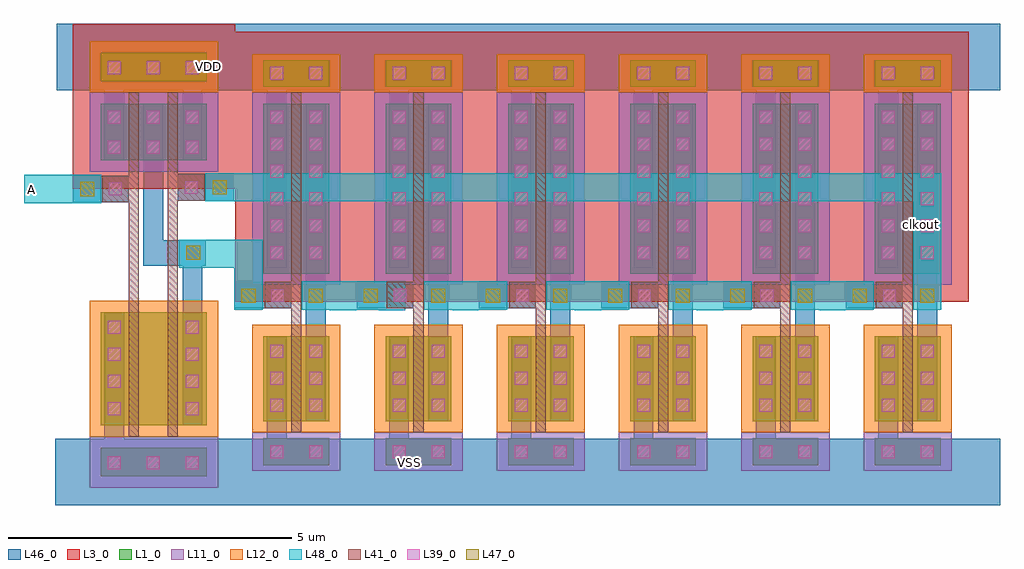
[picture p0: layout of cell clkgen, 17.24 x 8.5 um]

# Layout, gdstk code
import gdstk
lib = gdstk.Library(unit=1e-6, precision=1e-09)
def R(c, l, rs):  # rectangles x0, y0, x1, y1
    for r in rs: c.add(gdstk.rectangle(r[:2], r[2:], *l))
def A(c, l, x, y, w, h, nx, ny, dx, dy):  # array of equal rectangles
    R(c, l, [(x+i*dx, y+j*dy, x+i*dx+w, y+j*dy+h) for i in range(nx) for j in range(ny)])
L1_0 = (1, 0)
L3_0 = (3, 0)
L11_0 = (11, 0)
L12_0 = (12, 0)
L39_0 = (39, 0)
L41_0 = (41, 0)
L46_0 = (46, 0)
L47_0 = (47, 0)
L48_0 = (48, 0)

nand2 = lib.new_cell('NAND2')
R(nand2, L1_0, [(12.26,-24.335,14.13,-23.835), (12.26,-23.435,14.13,-21.435), (12.26,-18.755,14.13,-17.755), (12.26,-17.355,14.13,-16.855)])
R(nand2, L3_0, [(11.76,-19.255,14.63,-16.355)])
R(nand2, L11_0, [(12.06,-24.535,14.33,-23.635), (12.06,-18.955,14.33,-17.555)])
R(nand2, L12_0, [(12.06,-23.635,14.33,-21.235), (12.06,-17.555,14.33,-16.655)])
A(nand2, L39_0, 12.38, -24.215, 0.23, 0.23, 3, 2, 0.69, 5.58)
A(nand2, L39_0, 12.38, -23.255, 0.23, 0.23, 1, 4, 0, 0.48)
A(nand2, L39_0, 13.76, -23.255, 0.23, 0.23, 1, 4, 0, 0.48)
A(nand2, L39_0, 12.38, -18.105, 0.23, 0.23, 3, 2, 0.69, 0.87)
R(nand2, L39_0, [(12.4,-19.375,12.63,-19.145), (13.74,-19.345,13.97,-19.115)])
R(nand2, L41_0, [(12.75,-23.635,12.93,-17.555), (13.44,-23.635,13.62,-17.555), (12.28,-19.495,12.75,-19.025), (13.62,-19.465,14.09,-18.995)])
R(nand2, L46_0, [(12.06,-24.845,14.33,-23.675), (12.32,-23.675,12.67,-21.435), (13.7,-23.435,14.05,-20.615), (13.01,-20.615,14.115,-20.165), (13.01,-20.165,13.36,-17.755), (11.765,-19.495,12.75,-19.025), (13.62,-19.465,14.605,-18.995), (12.32,-18.755,12.67,-17.515), (13.7,-18.755,14.05,-17.515), (12.06,-17.515,14.33,-16.345)])
R(nand2, L47_0, [(13.765,-20.515,14.015,-20.265), (11.89,-19.385,12.14,-19.135), (14.23,-19.355,14.48,-19.105)])
R(nand2, L48_0, [(13.64,-20.655,14.14,-20.155), (11.765,-19.51,12.265,-19.01), (14.105,-19.48,14.605,-18.98)])
nand2.add(gdstk.Label('VDD', (13.1,-17.1), layer=101, texttype=0))
nand2.add(gdstk.Label('VSS', (13.195,-24.085), layer=101, texttype=0))
nand2.add(gdstk.Label('A', (12.035,-19.055), layer=102, texttype=0))
nand2.add(gdstk.Label('B', (14.355,-19.09), layer=102, texttype=0))
nand2.add(gdstk.Label('Vout', (14.06,-20.445), layer=102, texttype=0))

inv = lib.new_cell('INV')
R(inv, L1_0, [(3.77,-10.77,4.93,-10.29), (3.77,-9.99,4.93,-8.49), (3.77,-7.385,4.93,-4.385), (3.77,-4.085,4.93,-3.615)])
R(inv, L3_0, [(3.27,-7.885,5.43,-3.115)])
R(inv, L11_0, [(3.57,-10.87,5.13,-10.19), (3.57,-7.585,5.13,-4.185)])
R(inv, L12_0, [(3.57,-10.19,5.13,-8.29), (3.57,-4.185,5.13,-3.515)])
A(inv, L39_0, 3.89, -9.83, 0.23, 0.23, 1, 3, 0, 0.48)
A(inv, L39_0, 4.58, -9.83, 0.23, 0.23, 1, 3, 0, 0.48)
A(inv, L39_0, 3.89, -7.135, 0.23, 0.23, 1, 6, 0, 0.48)
A(inv, L39_0, 4.58, -7.135, 0.23, 0.23, 1, 6, 0, 0.48)
R(inv, L39_0, [(3.89,-10.65,4.12,-10.42), (4.58,-10.65,4.81,-10.42), (3.91,-7.88,4.14,-7.65), (3.89,-3.965,4.12,-3.735), (4.58,-3.965,4.81,-3.735)])
R(inv, L41_0, [(4.26,-10.19,4.44,-4.185), (3.79,-8,4.26,-7.53)])
R(inv, L46_0, [(3.27,-11.475,5.43,-10.305), (3.83,-10.72,4.18,-8.49), (4.52,-9.99,4.87,-4.385), (3.255,-8,4.26,-7.53), (3.83,-7.29,4.18,-4.145), (3.27,-4.145,5.43,-2.975)])
R(inv, L47_0, [(3.38,-7.9,3.63,-7.65), (4.57,-7.9,4.82,-7.65)])
R(inv, L48_0, [(3.255,-8.025,3.755,-7.525), (4.445,-8.025,4.945,-7.525)])
inv.add(gdstk.Label('VDD', (4.35,-3.515), layer=101, texttype=0))
inv.add(gdstk.Label('VSS', (4.35,-10.975), layer=101, texttype=0))
inv.add(gdstk.Label('A', (3.51,-7.73), layer=102, texttype=0))
inv.add(gdstk.Label('out', (4.79,-7.77), layer=102, texttype=0))

clkgen = lib.new_cell('clkgen')
R(clkgen, L46_0, [(10.741,-16.785,27.43,-15.615), (10.771,-9.455,27.43,-8.285)])
R(clkgen, L48_0, [(15.594,-13.34,16.064,-12.83), (16.443,-13.34,16.923,-12.83), (17.754,-13.34,18.224,-12.83), (19.914,-13.34,20.394,-12.83), (22.074,-13.34,22.554,-12.83), (24.234,-13.34,24.704,-12.83), (25.894,-13.335,26.394,-11.42), (13.904,-12.835,14.404,-12.095), (13.429,-12.595,14.404,-12.095), (10.189,-11.45,11.054,-10.95), (13.394,-11.42,26.394,-10.92)])
clkgen.add(gdstk.Reference(nand2, (-0.711,8.06)))
clkgen.add(gdstk.Reference(inv, (21.449,-5.31)))
clkgen.add(gdstk.Reference(inv, (19.289,-5.31)))
clkgen.add(gdstk.Reference(inv, (17.129,-5.31)))
clkgen.add(gdstk.Reference(inv, (14.969,-5.31)))
clkgen.add(gdstk.Reference(inv, (12.809,-5.31)))
clkgen.add(gdstk.Reference(inv, (10.649,-5.31)))
clkgen.add(gdstk.Label('A', (10.314,-11.205), layer=102, texttype=0))
clkgen.add(gdstk.Label('clkout', (26.049,-11.835), layer=102, texttype=0))
clkgen.add(gdstk.Label('VSS', (16.999,-16.03), layer=101, texttype=0))
clkgen.add(gdstk.Label('VDD', (13.454,-9.035), layer=101, texttype=0))

lib.write_gds('clkgen.gds')
